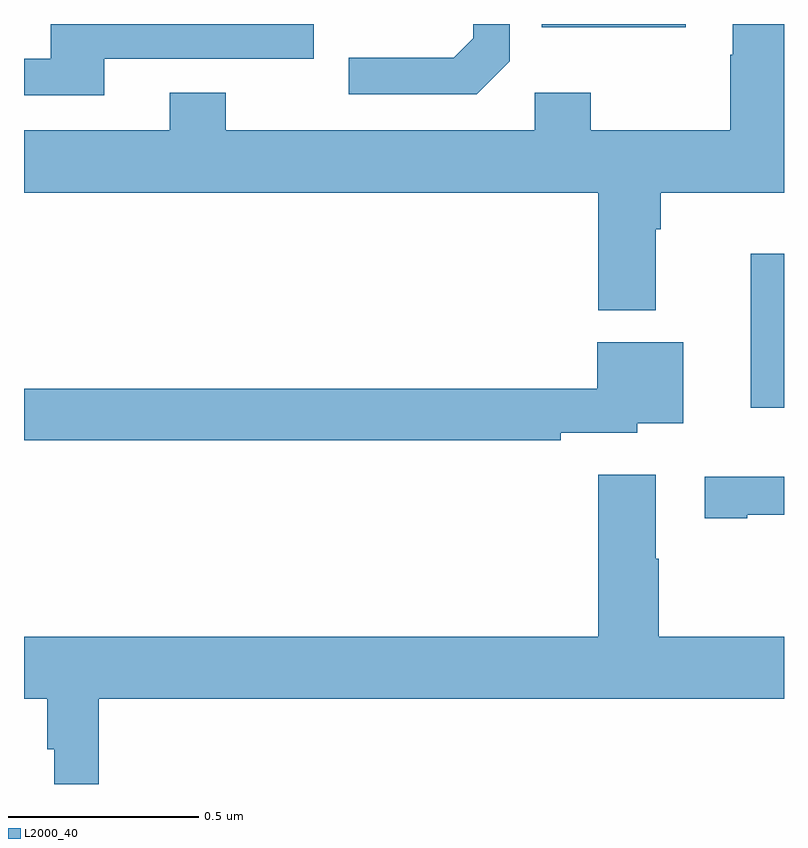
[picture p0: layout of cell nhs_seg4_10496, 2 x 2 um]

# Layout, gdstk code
import gdstk
lib = gdstk.Library(unit=1e-6, precision=1e-09)
def R(c, l, rs):  # rectangles x0, y0, x1, y1
    for r in rs: c.add(gdstk.rectangle(r[:2], r[2:], *l))
def P(c, l, *ps):  # polygons
    for p in ps: c.add(gdstk.Polygon(p, *l))
L2000_40 = (2000, 40)

nhs_seg4_10496 = lib.new_cell('nhs_seg4_10496')
R(nhs_seg4_10496, L2000_40, [(241.913,826.89,242,827.296), (241.363,827.891,241.741,827.9)])
P(nhs_seg4_10496, L2000_40, [(240.211,827.808),(240.762,827.808),(240.762,827.9),(240.071,827.9),(240.071,827.808),(240,827.808),(240,827.712),(240.211,827.712)],
  [(241.663,827.36),(241.676,827.36),(241.676,827.456),(242,827.456),(242,827.9),(241.865,827.9),(241.865,827.819),(241.858,827.819),(241.858,827.62),(241.491,827.62),(241.491,827.719),(241.344,827.719),(241.344,827.62),(240.531,827.62),(240.531,827.719),(240.383,827.719),(240.383,827.62),(240,827.62),(240,827.456),(241.511,827.456),(241.511,827.147),(241.663,827.147)],
  [(241.278,827.802),(241.278,827.9),(241.182,827.9),(241.182,827.862),(241.131,827.811),(240.855,827.811),(240.855,827.715),(241.191,827.715)],
  [(241.412,826.824),(241.614,826.824),(241.614,826.85),(241.735,826.85),(241.735,827.062),(241.508,827.062),(241.508,826.94),(240,826.94),(240,826.804),(241.412,826.804)],
  [(240.197,826.124),(242,826.124),(242,826.288),(241.671,826.288),(241.671,826.493),(241.663,826.493),(241.663,826.714),(241.511,826.714),(241.511,826.288),(240,826.288),(240,826.124),(240.061,826.124),(240.061,825.992),(240.08,825.992),(240.08,825.9),(240.197,825.9)],
  [(241.903,826.609),(242,826.609),(242,826.709),(241.791,826.709),(241.791,826.599),(241.903,826.599)])

lib.write_gds('nhs_seg4_10496.gds')
